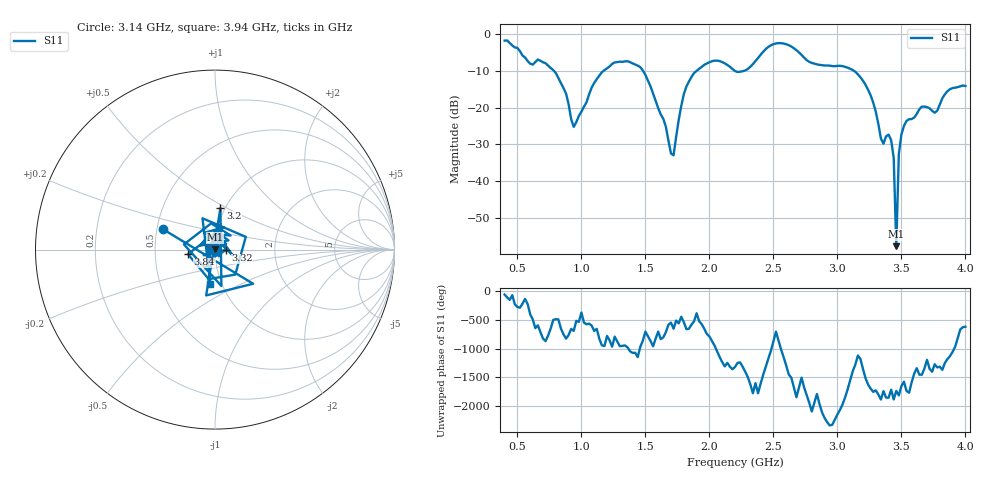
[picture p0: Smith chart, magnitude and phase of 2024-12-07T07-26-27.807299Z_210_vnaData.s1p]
!Created with skrf (http://scikit-rf.org).
# Hz S RI R 50.0
!freq ReS11 ImS11
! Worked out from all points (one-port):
!   181 points, 400 MHz to 4 GHz, reference 50 ohm
!   lowest |S11| = -57.7 dB at 3.46 GHz (marker M1), VSWR 1.00, Z = 50.1 + j0.112 ohm
!   |S11| at or under -10 dB: 786.8 MHz to 1.171 GHz (384.1 MHz wide, 39.2 % of centre); 1.483 GHz to 1.898 GHz (415 MHz wide, 24.5 % of centre); 3.132 GHz to end of sweep (the widest 3 of 4)
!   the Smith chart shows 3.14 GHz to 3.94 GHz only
!   S11 on the Smith chart (normalised r, x): 3.14 GHz: 0.54, +0.13; 3.2 GHz: 0.95, +0.47; 3.32 GHz: 1.13, -0.01; 3.84 GHz: 0.74, -0.04; 3.94 GHz: 0.89, -0.35
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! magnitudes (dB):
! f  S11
! 400 MHz  -1.7
! 860 MHz  -14.6
! 940 MHz  -25.2
! 1.12 GHz  -12.2
! 1.3 GHz  -7.4
! 1.5 GHz  -11.0
! 1.7 GHz  -32.5
! 1.72 GHz  -32.9
! 1.76 GHz  -23.3
! 1.82 GHz  -14.2
! 1.9 GHz  -9.9
! 2.2 GHz  -10.0
! 2.5 GHz  -2.7
! 2.66 GHz  -3.8
! 3.1 GHz  -9.4
! 3.14 GHz  -10.2
! 3.2 GHz  -12.6
! 3.32 GHz  -24.4
! 3.36 GHz  -29.8
! 3.42 GHz  -28.8
! 3.44 GHz  -33.6
! 3.46 GHz  -57.7
! 3.48 GHz  -32.6
! 3.56 GHz  -23.1
! 3.76 GHz  -21.3
! 3.84 GHz  -16.3
! 3.94 GHz  -14.4
! 4 GHz  -14.1
